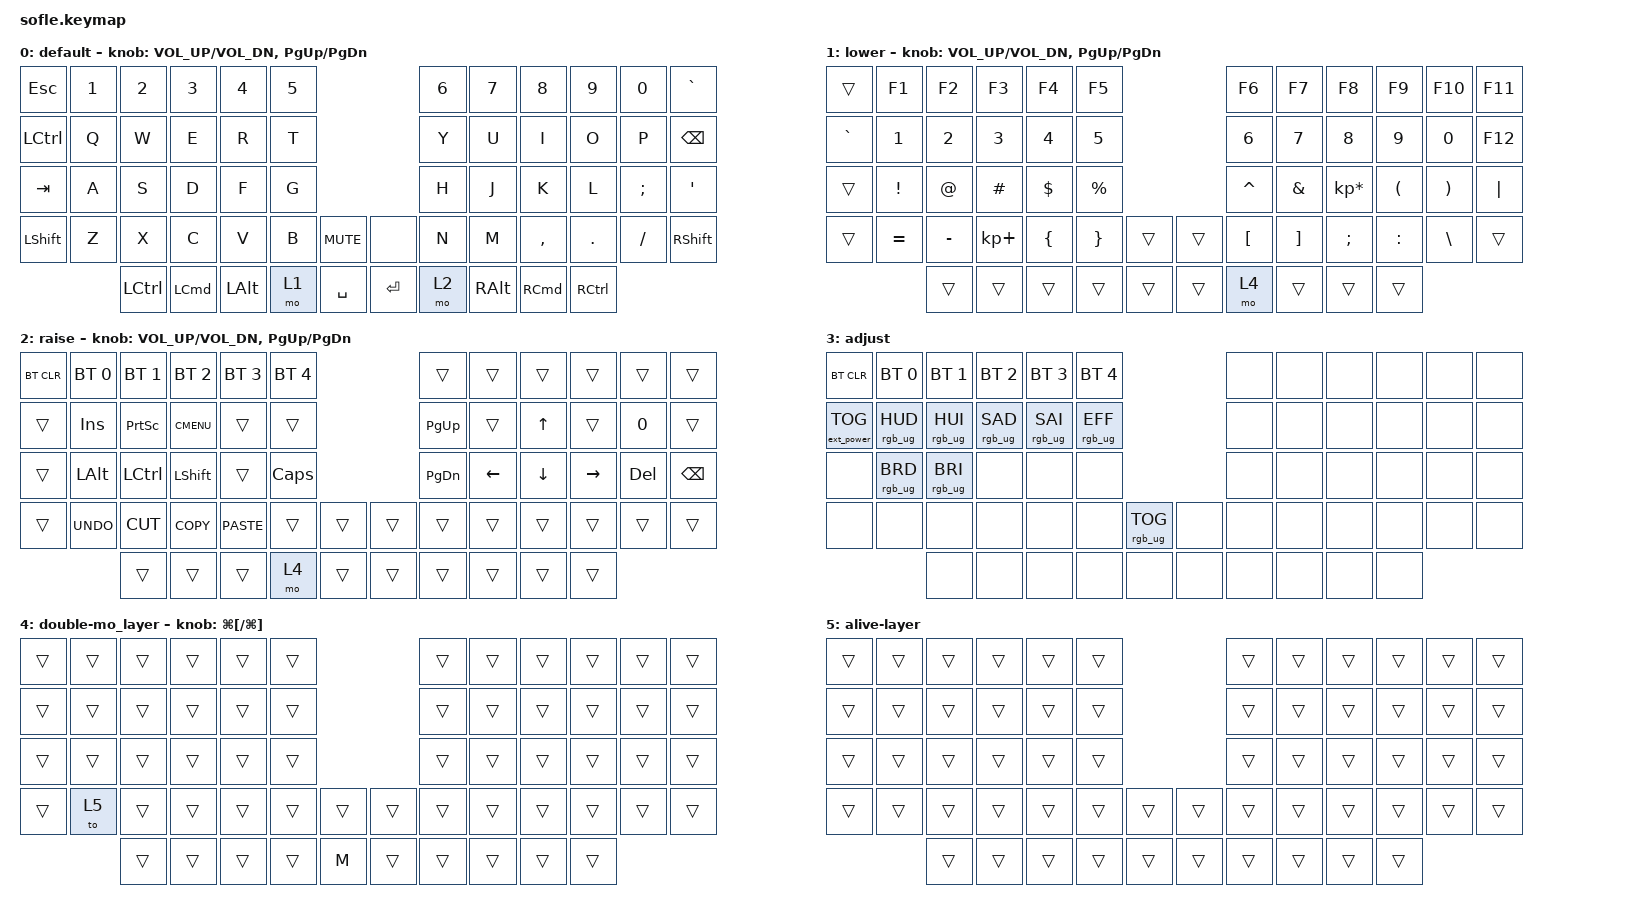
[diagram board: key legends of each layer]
/*
 * Copyright (c) 2020 The ZMK Contributors
 *
 * SPDX-License-Identifier: MIT
 */

#include <behaviors.dtsi>
#include <dt-bindings/zmk/bt.h>
#include <dt-bindings/zmk/ext_power.h>
#include <dt-bindings/zmk/keys.h>
#include <dt-bindings/zmk/rgb.h>

#define BASE 0
#define LOWER 1
#define RAISE 2
#define ADJUST 3

/ {
    // Activate ADJUST layer by pressing raise and lower

    conditional_layers {
        compatible = "zmk,conditional-layers";

        adjust_layer {
            if-layers = <1 2>;
            then-layer = <3>;
        };
    };

    combos {
        compatible = "zmk,combos";

        unlock {
            bindings = <&to 0>;
            key-positions = <0 5 53>;
        };

        BT-Reset {
            bindings = <&bt BT_CLR>;
            key-positions = <13 17 53>;
        };
    };

    keymap {
        compatible = "zmk,keymap";

        default_layer {
            display-name = "default";

            // ------------------------------------------------------------------------------------------------------------
            // |   `   |  1  |  2  |  3   |  4   |  5   |                   |  6   |  7    |  8    |  9   |   0   |       |
            // |  ESC  |  Q  |  W  |  E   |  R   |  T   |                   |  Y   |  U    |  I    |  O   |   P   | BKSPC |
            // |  TAB  |  A  |  S  |  D   |  F   |  G   |                   |  H   |  J    |  K    |  L   |   ;   |   '   |
            // | SHIFT |  Z  |  X  |  C   |  V   |  B   |  MUTE  |  |       |  N   |  M    |  ,    |  .   |   /   | SHIFT |
            //               | GUI | ALT  | CTRL | LOWER|  ENTER |  | SPACE | RAISE| CTRL  | ALT   | GUI  |

            bindings = <
&kp ESC    &kp N1  &kp N2     &kp N3    &kp N4    &kp N5                         &kp N6  &kp N7    &kp N8     &kp N9     &kp N0    &kp GRAVE
&kp LCTRL  &kp Q   &kp W      &kp E     &kp R     &kp T                          &kp Y   &kp U     &kp I      &kp O      &kp P     &kp BSPC
&kp TAB    &kp A   &kp S      &kp D     &kp F     &kp G                          &kp H   &kp J     &kp K      &kp L      &kp SEMI  &kp SQT
&kp LSHFT  &kp Z   &kp X      &kp C     &kp V     &kp B   &kp C_MUTE    &none    &kp N   &kp M     &kp COMMA  &kp DOT    &kp FSLH  &kp RSHFT
                   &kp LCTRL  &kp LCMD  &kp LALT  &mo 1   &kp SPACE     &kp RET  &mo 2   &kp RALT  &kp RCMD   &kp RCTRL
            >;

            sensor-bindings = <&inc_dec_kp C_VOL_UP C_VOL_DN &inc_dec_kp PG_UP PG_DN>;
        };

        lower_layer {
            display-name = "lower";

            // TODO: Some binds are waiting for shifted keycode support.
            // ------------------------------------------------------------------------------------------------------------
            // |       |  F1 |  F2 |  F3  |  F4  |  F5  |                   |  F6  |  F7   |  F8   |  F9  |  F10  |  F11  |
            // |   `   |  1  |  2  |  3   |  4   |  5   |                   |  6   |  7    |  8    |  9   |   0   |  F12  |
            // |       |  !  |  @  |  #   |  $   |  %   |                   |  ^   |  &    |  *    |  (   |   )   |   |   |
            // |       |  =  |  -  |  +   |  {   |  }   |        |  |       |  [   |  ]    |  ;    |  :   |   \   |       |
            //               |     |      |      |      |        |  |       |      |       |       |      |

            bindings = <
&trans     &kp F1     &kp F2     &kp F3       &kp F4    &kp F5                       &kp F6     &kp F7    &kp F8           &kp F9     &kp F10   &kp F11
&kp GRAVE  &kp N1     &kp N2     &kp N3       &kp N4    &kp N5                       &kp N6     &kp N7    &kp N8           &kp N9     &kp N0    &kp F12
&trans     &kp EXCL   &kp AT     &kp HASH     &kp DLLR  &kp PRCNT                    &kp CARET  &kp AMPS  &kp KP_MULTIPLY  &kp LPAR   &kp RPAR  &kp PIPE
&trans     &kp EQUAL  &kp MINUS  &kp KP_PLUS  &kp LBRC  &kp RBRC   &trans    &trans  &kp LBKT   &kp RBKT  &kp SEMI         &kp COLON  &kp BSLH  &trans
                      &trans     &trans       &trans    &trans     &trans    &trans  &mo 4      &trans    &trans           &trans
            >;

            sensor-bindings = <&inc_dec_kp C_VOL_UP C_VOL_DN &inc_dec_kp PG_UP PG_DN>;
        };

        raise_layer {
            display-name = "raise";

            // ------------------------------------------------------------------------------------------------------------
            // | BTCLR | BT1  | BT2  |  BT3  |  BT4  |  BT5 |                |      |      |       |      |       |       |
            // |       | INS  | PSCR | GUI   |       |      |                | PGUP |      |   ^   |      |       |       |
            // |       | ALT  | CTRL | SHIFT |       | CAPS |                | PGDN |   <- |   v   |  ->  |  DEL  | BKSPC |
            // |       | UNDO | CUT  | COPY  | PASTE |      |      |  |      |      |      |       |      |       |       |
            //                |      |       |       |      |      |  |      |      |      |       |      |

            bindings = <
&bt BT_CLR  &bt BT_SEL 0  &bt BT_SEL 1  &bt BT_SEL 2  &bt BT_SEL 3  &bt BT_SEL 4                    &trans     &trans    &trans    &trans     &trans   &trans
&trans      &kp INS       &kp PSCRN     &kp K_CMENU   &trans        &trans                          &kp PG_UP  &trans    &kp UP    &trans     &kp N0   &trans
&trans      &kp LALT      &kp LCTRL     &kp LSHFT     &trans        &kp CLCK                        &kp PG_DN  &kp LEFT  &kp DOWN  &kp RIGHT  &kp DEL  &kp BSPC
&trans      &kp K_UNDO    &kp K_CUT     &kp K_COPY    &kp K_PASTE   &trans        &trans    &trans  &trans     &trans    &trans    &trans     &trans   &trans
                          &trans        &trans        &trans        &mo 4         &trans    &trans  &trans     &trans    &trans    &trans
            >;

            sensor-bindings = <&inc_dec_kp C_VOL_UP C_VOL_DN &inc_dec_kp PG_UP PG_DN>;
        };

        adjust_layer {
            // ----------------------------------------------------------------------------------------------------------------------------
            // | BTCLR  |  BT1    |  BT2    |   BT3   |   BT4   |   BT5   |                  |      |      |       |      |       |       |
            // | EXTPWR | RGB_HUD | RGB_HUI | RGB_SAD | RGB_SAI | RGB_EFF |                  |      |      |       |      |       |       |
            // |        | RGB_BRD | RGB_BRI |         |         |         |                  |      |      |       |      |       |       |
            // |        |         |         |         |         |         | RGB_TOG | |      |      |      |       |      |       |       |
            //                    |         |         |         |         |         | |      |      |      |       |      |

            display-name = "adjust";
            bindings = <
&bt BT_CLR         &bt BT_SEL 0     &bt BT_SEL 1     &bt BT_SEL 2     &bt BT_SEL 3     &bt BT_SEL 4                               &none  &none  &none  &none  &none  &none
&ext_power EP_TOG  &rgb_ug RGB_HUD  &rgb_ug RGB_HUI  &rgb_ug RGB_SAD  &rgb_ug RGB_SAI  &rgb_ug RGB_EFF                            &none  &none  &none  &none  &none  &none
&none              &rgb_ug RGB_BRD  &rgb_ug RGB_BRI  &none            &none            &none                                      &none  &none  &none  &none  &none  &none
&none              &none            &none            &none            &none            &none            &rgb_ug RGB_TOG    &none  &none  &none  &none  &none  &none  &none
                                    &none            &none            &none            &none            &none              &none  &none  &none  &none  &none
            >;
        };

        double-mo_layer {
            bindings = <
&trans  &trans  &trans  &trans  &trans  &trans                    &trans  &trans  &trans  &trans  &trans  &trans
&trans  &trans  &trans  &trans  &trans  &trans                    &trans  &trans  &trans  &trans  &trans  &trans
&trans  &trans  &trans  &trans  &trans  &trans                    &trans  &trans  &trans  &trans  &trans  &trans
&trans  &to 5   &trans  &trans  &trans  &trans  &trans    &trans  &trans  &trans  &trans  &trans  &trans  &trans
                &trans  &trans  &trans  &trans  &kp M     &trans  &trans  &trans  &trans  &trans
            >;

            sensor-bindings = <&inc_dec_kp LG(LEFT_BRACKET) LG(RIGHT_BRACKET)>;
        };

        alive-layer {
            bindings = <
&trans  &trans  &trans  &trans  &trans  &trans                    &trans  &trans  &trans  &trans  &trans  &trans
&trans  &trans  &trans  &trans  &trans  &trans                    &trans  &trans  &trans  &trans  &trans  &trans
&trans  &trans  &trans  &trans  &trans  &trans                    &trans  &trans  &trans  &trans  &trans  &trans
&trans  &trans  &trans  &trans  &trans  &trans  &trans    &trans  &trans  &trans  &trans  &trans  &trans  &trans
                &trans  &trans  &trans  &trans  &trans    &trans  &trans  &trans  &trans  &trans
            >;
        };
    };
};
